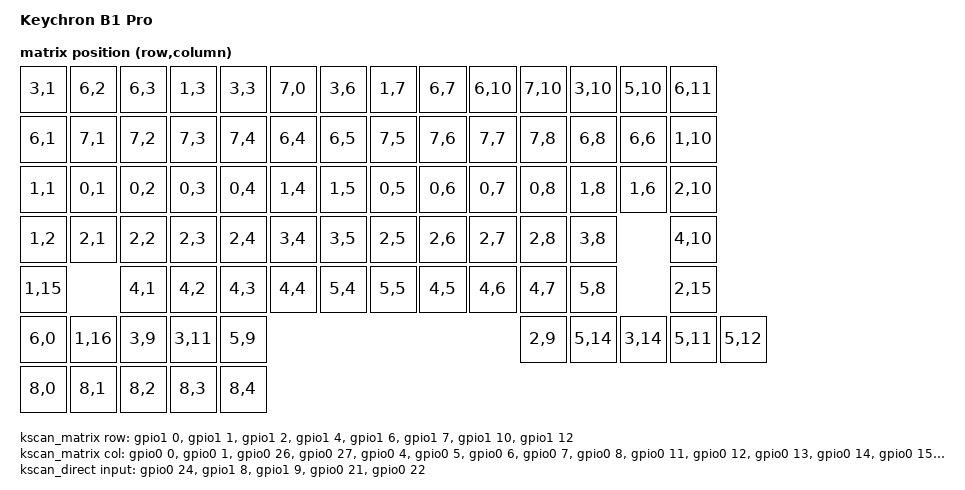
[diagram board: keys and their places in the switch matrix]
/*
 * Copyright (c) 2021 Nick Winans
 * Copyright (c) 2026 zmk-kb1 contributors
 *
 * SPDX-License-Identifier: MIT
 *
 * Keychron B1 Pro, US layout (PID 0x0711). The pins, the matrix, the flash
 * partitions and the battery divider come from the MIT-licensed board and
 * shield files of Keychron ZMK (app/boards/arm/keychron/keychron.dts and
 * app/boards/shields/keychron/b1/us/keychron_b1_us.overlay at commit
 * c284513085c005edf5f9a52b28c8090cc6ed01d2).
 */

/dts-v1/;
#include <nordic/nrf52840_qiaa.dtsi>
#include <common/nordic/nrf52840_uf2_boot_mode.dtsi>
#include <dt-bindings/zmk/matrix_transform.h>
#include <physical_layouts.dtsi>
#include <dt-bindings/kb1/conn_switch.h>
#include <zephyr/dt-bindings/regulator/nrf5x.h>
#include "keychron_b1_pro-layouts.dtsi"

/ {
    model = "Keychron B1 Pro";
    compatible = "keychron,b1-pro";

    chosen {
        zephyr,code-partition = &code_partition;
        zephyr,sram = &sram0;
        zephyr,flash = &flash0;
        zmk,kscan = &kscan;
        zmk,battery = &vbatt;
        zmk,physical-layout = &layout_b1_pro_ansi;
    };

    /* 77 keys in 6 rows, then the five direct inputs (row 8): the Mac/Win
     * switch, the BT and 2.4G positions of the connection switch, and the
     * charging and charge-done signals of the charger. The cable position of
     * the connection switch has no input of its own: neither BT nor 2.4G. */
    default_transform: keymap_transform_0 {
        compatible = "zmk,matrix-transform";
        columns = <18>;
        rows = <9>;
        map = <
            RC(3,1) RC(6,2) RC(6,3) RC(1,3) RC(3,3) RC(7,0) RC(3,6) RC(1,7) RC(6,7) RC(6,10) RC(7,10) RC(3,10) RC(5,10) RC(6,11)
            RC(6,1) RC(7,1) RC(7,2) RC(7,3) RC(7,4) RC(6,4) RC(6,5) RC(7,5) RC(7,6) RC(7,7)  RC(7,8)  RC(6,8)  RC(6,6)  RC(1,10)
            RC(1,1) RC(0,1) RC(0,2) RC(0,3) RC(0,4) RC(1,4) RC(1,5) RC(0,5) RC(0,6) RC(0,7)  RC(0,8)  RC(1,8)  RC(1,6)  RC(2,10)
            RC(1,2) RC(2,1) RC(2,2) RC(2,3) RC(2,4) RC(3,4) RC(3,5) RC(2,5) RC(2,6) RC(2,7)  RC(2,8)  RC(3,8)           RC(4,10)
            RC(1,15)        RC(4,1) RC(4,2) RC(4,3) RC(4,4) RC(5,4) RC(5,5) RC(4,5) RC(4,6)  RC(4,7)  RC(5,8)           RC(2,15)
            RC(6,0) RC(1,16) RC(3,9)                        RC(3,11)                 RC(5,9)  RC(2,9)  RC(5,14) RC(3,14) RC(5,11) RC(5,12)
            RC(8,0) RC(8,1) RC(8,2) RC(8,3) RC(8,4)
        >;
    };

    /* The matrix has no diodes: the stock driver makes each column an output
     * only while scanning it and filters ghosts. The same is done by
     * zmk,kb1-kscan-gpio-matrix-nodiode (src/kscan_gpio_matrix_nodiode.c).
     * wakeup-source: the key waker keeps it armed through idle sleep. */
    kscan_matrix: kscan_matrix {
        compatible = "zmk,kb1-kscan-gpio-matrix-nodiode";
        wakeup-source;
        diode-direction = "col2row";
        debounce-scan-period-ms = <4>;
        debounce-press-ms = <8>;
        debounce-release-ms = <8>;
        row-gpios
            = <&gpio1 0 (GPIO_ACTIVE_HIGH | GPIO_PULL_DOWN)>
            , <&gpio1 1 (GPIO_ACTIVE_HIGH | GPIO_PULL_DOWN)>
            , <&gpio1 2 (GPIO_ACTIVE_HIGH | GPIO_PULL_DOWN)>
            , <&gpio1 4 (GPIO_ACTIVE_HIGH | GPIO_PULL_DOWN)>
            , <&gpio1 6 (GPIO_ACTIVE_HIGH | GPIO_PULL_DOWN)>
            , <&gpio1 7 (GPIO_ACTIVE_HIGH | GPIO_PULL_DOWN)>
            , <&gpio1 10 (GPIO_ACTIVE_HIGH | GPIO_PULL_DOWN)>
            , <&gpio1 12 (GPIO_ACTIVE_HIGH | GPIO_PULL_DOWN)>
            ;
        col-gpios
            = <&gpio0 0 GPIO_ACTIVE_HIGH>
            , <&gpio0 1 GPIO_ACTIVE_HIGH>
            , <&gpio0 26 GPIO_ACTIVE_HIGH>
            , <&gpio0 27 GPIO_ACTIVE_HIGH>
            , <&gpio0 4 GPIO_ACTIVE_HIGH>
            , <&gpio0 5 GPIO_ACTIVE_HIGH>
            , <&gpio0 6 GPIO_ACTIVE_HIGH>
            , <&gpio0 7 GPIO_ACTIVE_HIGH>
            , <&gpio0 8 GPIO_ACTIVE_HIGH>
            , <&gpio0 11 GPIO_ACTIVE_HIGH>
            , <&gpio0 12 GPIO_ACTIVE_HIGH>
            , <&gpio0 13 GPIO_ACTIVE_HIGH>
            , <&gpio0 14 GPIO_ACTIVE_HIGH>
            , <&gpio0 15 GPIO_ACTIVE_HIGH>
            , <&gpio0 16 GPIO_ACTIVE_HIGH>
            , <&gpio0 17 GPIO_ACTIVE_HIGH>
            , <&gpio0 18 GPIO_ACTIVE_HIGH>
            , <&gpio0 20 GPIO_ACTIVE_HIGH>
            ;
    };

    /* Switch and charger inputs. While an input is active the driver polls,
     * and the switches stay active for hours: poll every 50 ms instead of every
     * 1 ms (the stock driver polled every 400 ms); a switch change registers
     * after about 150 ms. The press and release times
     * must stay above the scan period: at boot ZMK reads this kscan twice
     * before it sets the callback (resume, then enable), and ZMK's debouncer
     * counts one scan period per read, so a threshold of one period would flip
     * on the second read and call a NULL callback. Checked by
     * scripts/run-host-tests.sh on the built devicetree. */
    kscan_direct: kscan_direct {
        compatible = "zmk,kscan-gpio-direct";
        debounce-scan-period-ms = <50>;
        debounce-press-ms = <150>;
        debounce-release-ms = <150>;
        input-gpios
            = <&gpio0 24 GPIO_ACTIVE_LOW>   /* Mac/Win switch: active in Win */
            , <&gpio1 8 GPIO_ACTIVE_LOW>    /* connection switch: BT */
            , <&gpio1 9 GPIO_ACTIVE_LOW>    /* connection switch: 2.4G */
            , <&gpio0 21 GPIO_ACTIVE_LOW>   /* charger: charging */
            , <&gpio0 22 GPIO_ACTIVE_LOW>   /* charger: charge done */
            ;
    };

    kscan: kscan {
        compatible = "zmk,kscan-composite";
        rows = <9>;
        columns = <18>;

        matrix {
            kscan = <&kscan_matrix>;
        };

        direct {
            kscan = <&kscan_direct>;
            row-offset = <8>;
        };
    };

    behaviors {
        /* The connection switch (see src/behavior_conn_switch.c). */
        conn_sw: conn_switch {
            compatible = "zmk,behavior-kb1-conn-switch";
            #binding-cells = <1>;
        };

        /* Indicators on the LEDs (src/behavior_kb1_indicator.c). */
        kb1_ind: kb1_indicator {
            compatible = "zmk,behavior-kb1-indicator";
            #binding-cells = <1>;
            display-name = "Indicator";
        };
    };

    /* Wake from soft off when the connection switch moves: the BT (P1.08)
     * and 2.4G (P1.09) inputs are each armed for the level opposite to the
     * one they have when the keyboard turns off (src/switch_waker.c). Both are
     * pulled high on the board. They are also direct kscan inputs; soft off
     * suspends the kscan before it arms the waker. Plugging in USB wakes the
     * nRF52840 through its VBUS detection. */
    switch_waker: switch_waker {
        compatible = "zmk,kb1-switch-waker";
        gpios = <&gpio1 8 GPIO_ACTIVE_LOW>, <&gpio1 9 GPIO_ACTIVE_LOW>;
        wakeup-source;
    };

    /* Idle sleep only: a key press wakes too (src/key_waker.c). */
    key_waker: key_waker {
        compatible = "zmk,kb1-key-waker";
        kscan = <&kscan_matrix>;
        wakeup-source;
    };

    soft_off_wakers {
        compatible = "zmk,soft-off-wakeup-sources";
        /* The switch waker last: it disables the GPIOTE PORT interrupt,
         * which resuming the matrix may enable again. */
        wakeup-sources = <&key_waker &switch_waker>;
    };

    vbatt: vbatt {
        compatible = "zmk,battery-voltage-divider";
        io-channels = <&adc 7>;
        output-ohms = <510000>;
        full-ohms = <(510000 + 510000)>;
    };

    /* Driven by src/kb1_leds.c (meanings in include/kb1/led_logic.h). */
    status_leds: leds {
        compatible = "gpio-leds";
        led_bt: led_bt {
            gpios = <&gpio1 14 GPIO_ACTIVE_LOW>;
            label = "Bluetooth";
        };
        led_num_lock: led_num_lock {
            gpios = <&gpio0 9 GPIO_ACTIVE_LOW>;
            label = "Num Lock";
        };
        led_caps_lock: led_caps_lock {
            gpios = <&gpio0 10 GPIO_ACTIVE_LOW>;
            label = "Caps Lock";
        };
        led_24g: led_24g {
            gpios = <&gpio0 3 GPIO_ACTIVE_LOW>;
            label = "2.4G";
        };
        led_red: led_red {
            gpios = <&gpio0 28 GPIO_ACTIVE_LOW>;
            label = "Red";
        };
        led_green: led_green {
            gpios = <&gpio0 30 GPIO_ACTIVE_LOW>;
            label = "Green";
        };
        led_blue: led_blue {
            gpios = <&gpio0 29 GPIO_ACTIVE_LOW>;
            label = "Blue";
        };
    };
};

/* The stock Keychron firmware enables the DC/DC converter of the main
 * regulator (CONFIG_BOARD_ENABLE_DCDC=y), so the board has its inductor. */
&reg1 {
    regulator-initial-mode = <NRF5X_REG_MODE_DCDC>;
};

&adc {
    status = "okay";
};

&gpiote {
    status = "okay";
};

&gpio0 {
    status = "okay";
};

&gpio1 {
    status = "okay";
};

zephyr_udc0: &usbd {
    status = "okay";
};

&flash0 {
    partitions {
        compatible = "fixed-partitions";
        #address-cells = <1>;
        #size-cells = <1>;

        /* The Adafruit-style UF2 bootloader of the keyboard expects the
         * application at 0x1000, after the MBR (no SoftDevice). */
        sd_partition: partition@0 {
            label = "mbr";
            reg = <0x00000000 0x00001000>;
        };

        code_partition: partition@1000 {
            label = "code_partition";
            reg = <0x00001000 0x000d3000>;
        };

        storage_partition: partition@d4000 {
            label = "storage";
            reg = <0x000d4000 0x00020000>;
        };

        boot_partition: partition@f4000 {
            label = "adafruit_boot";
            reg = <0x000f4000 0x0000c000>;
        };
    };
};
